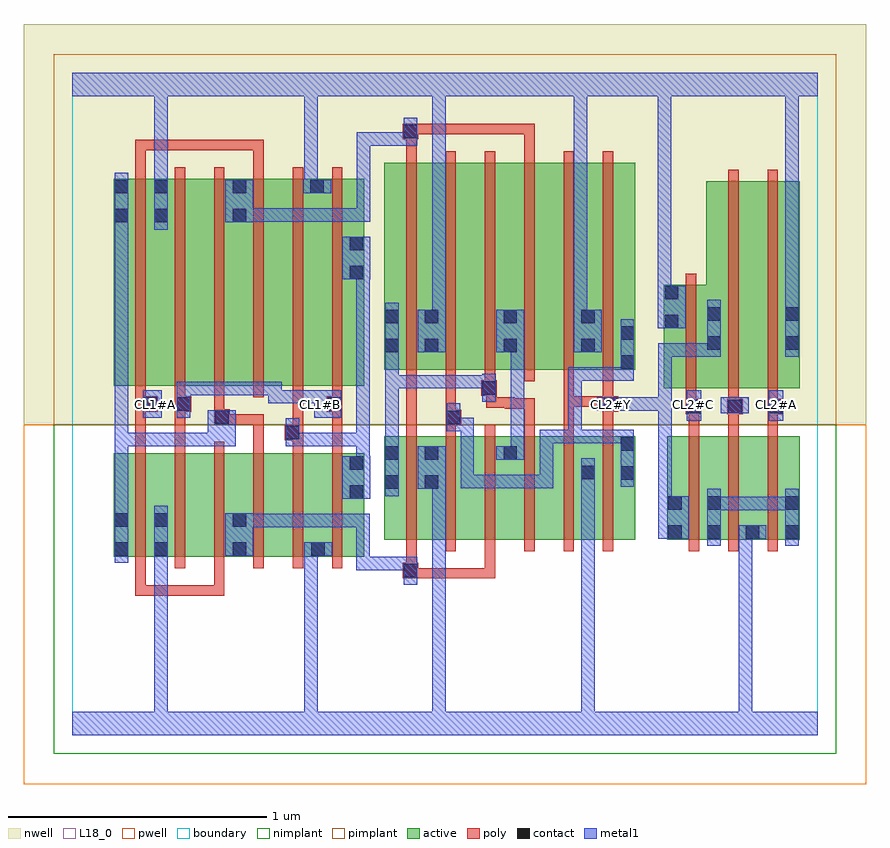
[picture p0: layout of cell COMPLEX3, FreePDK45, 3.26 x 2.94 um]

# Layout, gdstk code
import gdstk
lib = gdstk.Library(unit=1e-6, precision=1e-09)
def R(c, l, rs):  # rectangles x0, y0, x1, y1
    for r in rs: c.add(gdstk.rectangle(r[:2], r[2:], *l))
def A(c, l, x, y, w, h, nx, ny, dx, dy):  # array of equal rectangles
    R(c, l, [(x+i*dx, y+j*dy, x+i*dx+w, y+j*dy+h) for i in range(nx) for j in range(ny)])
active = (1, 0)
pwell = (2, 0)
nwell = (3, 0)
nimplant = (4, 0)
pimplant = (5, 0)
poly = (9, 0)
contact = (10, 0)
metal1 = (11, 0)
L18_0 = (18, 0)
boundary = (235, 0)

complex3 = lib.new_cell('COMPLEX3')
R(complex3, active, [(0.16,0.69,0.22,1.09), (0.16,0.69,0.372,1.09), (0.312,0.69,0.492,1.09), (0.312,0.69,0.372,0.916), (0.492,0.69,0.676,1.09), (0.616,0.69,0.676,1.09), (0.616,0.69,0.796,1.09), (0.796,0.69,0.98,1.09), (0.92,0.69,0.98,0.75), (0.92,0.69,1.128,1.09), (1.068,0.69,1.128,1.09), (1.206,0.756,1.266,1.156), (1.206,0.756,1.418,1.156), (1.358,0.756,1.538,1.156), (1.358,0.756,1.418,1.12), (1.538,0.756,1.722,1.156), (1.662,0.756,1.842,1.156), (1.662,0.756,1.722,1.12), (1.842,0.756,2.022,1.156), (1.962,0.756,2.022,1.156), (1.962,0.756,2.174,1.156), (2.114,0.756,2.174,1.156), (2.298,0.756,2.358,1.156), (2.298,0.756,2.51,1.156), (2.45,0.756,2.658,1.156), (2.45,0.756,2.51,0.928), (2.598,0.756,2.81,1.156), (2.598,0.756,2.658,0.816), (2.75,0.756,2.81,1.156), (2.286,1.34,2.346,1.74), (2.286,1.34,2.51,1.74), (2.45,1.34,2.51,2.14), (2.45,1.34,2.63,2.14), (2.63,1.34,2.81,2.14), (2.75,1.34,2.81,2.14), (0.16,1.35,0.22,2.15), (0.16,1.35,0.372,2.15), (0.312,1.35,0.492,2.15), (0.492,1.35,0.676,2.15), (0.616,1.35,0.796,2.15), (0.796,1.35,0.976,2.15), (0.916,1.35,1.128,2.15), (1.068,1.35,1.128,2.15), (1.206,1.412,1.266,2.044), (1.206,1.412,1.418,2.212), (1.358,1.412,1.538,2.212), (1.358,1.412,1.418,2.044), (1.538,1.412,1.722,2.212), (1.662,1.412,1.842,2.212), (1.662,1.412,1.722,2.044), (1.842,1.412,2.022,2.212), (1.962,1.412,2.022,2.044), (1.962,1.412,2.174,2.212), (2.114,1.412,2.174,2.044), (0.312,1.65,0.372,2.15), (0.616,1.65,0.676,2.15), (0.916,1.686,0.976,2.15)])
R(complex3, pwell, [(-0.188,-0.188,3.068,1.2)])
R(complex3, nwell, [(-0.188,1.2,3.068,2.748)])
R(complex3, nimplant, [(-0.072,-0.072,2.952,1.2)])
R(complex3, pimplant, [(-0.072,1.2,2.952,2.632)])
A(complex3, poly, 0.244, 0.646, 0.04, 0.488, 6, 1, 0.152, 0)
A(complex3, poly, 1.29, 0.712, 0.04, 0.488, 6, 1, 0.152, 0)
A(complex3, poly, 2.382, 0.712, 0.04, 0.488, 3, 1, 0.152, 0)
A(complex3, poly, 2.382, 1.16, 0.04, 0.12, 3, 1, 0.152, 0)
A(complex3, poly, 0.244, 1.306, 0.04, 0.888, 6, 1, 0.152, 0)
A(complex3, poly, 1.29, 1.368, 0.04, 0.888, 6, 1, 0.152, 0)
A(complex3, poly, 0.244, 2.26, 0.04, 0.04, 3, 1, 0.106, 0)
R(complex3, poly, [(0.244,0.54,0.284,0.58), (0.244,0.54,0.284,0.58), (0.244,0.54,0.284,0.58), (0.244,0.54,0.284,0.686), (0.244,0.54,0.39,0.58), (0.35,0.54,0.39,0.58), (0.35,0.54,0.588,0.58), (0.548,0.54,0.588,0.58), (0.548,0.54,0.588,0.58), (0.548,0.54,0.588,0.58), (0.548,0.54,0.588,0.686), (1.276,0.606,1.336,0.666), (1.296,0.606,1.336,0.646), (1.296,0.606,1.336,0.646), (1.296,0.606,1.442,0.646), (1.402,0.606,1.442,0.646), (1.402,0.606,1.604,0.646), (1.564,0.606,1.604,0.646), (1.564,0.606,1.634,0.646), (1.594,0.606,1.634,0.646), (1.594,0.606,1.634,0.752), (1.29,0.626,1.33,0.752), (0.244,1.094,0.284,1.29), (0.396,1.094,0.436,1.29), (0.7,1.094,0.74,1.24), (0.852,1.094,0.892,1.18), (1.004,1.094,1.044,1.29), (0.82,1.14,0.892,1.2), (0.852,1.16,0.892,1.2), (0.852,1.16,0.892,1.2), (0.852,1.16,0.892,1.346), (1.29,1.16,1.33,1.372), (1.442,1.16,1.482,1.238), (1.746,1.16,1.786,1.302), (1.898,1.16,1.938,1.31), (2.05,1.16,2.09,1.29), (1.442,1.198,1.502,1.258), (0.548,1.2,0.608,1.26), (0.568,1.2,0.74,1.24), (0.7,1.2,0.74,1.24), (0.7,1.2,0.74,1.24), (0.7,1.2,0.74,1.24), (1.442,1.218,1.482,1.258), (1.442,1.218,1.482,1.258), (1.442,1.218,1.482,1.408), (0.548,1.22,0.588,1.26), (0.548,1.22,0.588,1.26), (0.548,1.22,0.588,1.346), (2.37,1.24,2.43,1.3), (2.53,1.24,2.59,1.3), (2.686,1.24,2.746,1.3), (0.244,1.25,0.284,1.29), (0.244,1.25,0.284,1.29), (0.244,1.25,0.33,1.31), (0.396,1.25,0.436,1.29), (0.396,1.25,0.436,1.29), (0.396,1.25,0.46,1.31), (0.984,1.25,1.044,1.31), (1.004,1.25,1.044,1.29), (1.004,1.25,1.044,1.29), (2.05,1.25,2.11,1.31), (2.37,1.26,2.41,1.336), (2.37,1.26,2.41,1.3), (2.37,1.26,2.41,1.3), (2.534,1.26,2.574,1.336), (2.534,1.26,2.574,1.3), (2.534,1.26,2.574,1.3), (2.686,1.26,2.726,1.336), (2.686,1.26,2.726,1.3), (2.686,1.26,2.726,1.3), (1.67,1.262,1.786,1.302), (1.67,1.262,1.71,1.306), (1.746,1.262,1.786,1.302), (1.6,1.266,1.64,1.306), (1.6,1.266,1.71,1.306), (1.6,1.266,1.64,1.352), (0.244,1.27,0.284,1.346), (0.396,1.27,0.436,1.346), (1.004,1.27,1.044,1.346), (1.898,1.27,1.938,1.31), (1.898,1.27,1.938,1.31), (1.898,1.27,1.938,1.31), (1.898,1.27,1.938,1.408), (1.898,1.27,2.09,1.31), (2.05,1.27,2.09,1.31), (2.05,1.27,2.09,1.31), (2.05,1.27,2.09,1.31), (2.05,1.27,2.09,1.31), (2.05,1.27,2.09,1.408), (2.37,1.296,2.41,1.784), (2.534,1.296,2.574,2.184), (2.686,1.296,2.726,2.184), (1.58,1.312,1.64,1.372), (1.29,1.332,1.33,1.408), (1.29,1.332,1.33,1.372), (1.29,1.332,1.33,1.372), (1.29,1.332,1.33,1.372), (1.594,1.332,1.634,1.408), (0.244,2.154,0.284,2.3), (0.7,2.154,0.74,2.3), (1.29,2.216,1.33,2.342), (1.746,2.216,1.786,2.362), (0.244,2.26,0.284,2.3), (0.244,2.26,0.284,2.3), (0.244,2.26,0.39,2.3), (0.35,2.26,0.496,2.3), (0.456,2.26,0.496,2.3), (0.456,2.26,0.496,2.3), (0.456,2.26,0.74,2.3), (0.7,2.26,0.74,2.3), (0.7,2.26,0.74,2.3), (0.7,2.26,0.74,2.3), (1.276,2.302,1.336,2.362), (1.296,2.322,1.336,2.362), (1.296,2.322,1.336,2.362), (1.296,2.322,1.498,2.362), (1.458,2.322,1.498,2.362), (1.458,2.322,1.604,2.362), (1.564,2.322,1.604,2.362), (1.564,2.322,1.604,2.362), (1.564,2.322,1.604,2.362), (1.564,2.322,1.786,2.362), (1.746,2.322,1.786,2.362), (1.746,2.322,1.786,2.362), (1.746,2.322,1.786,2.362)])
A(complex3, contact, 0.316, 0.694, 0.052, 0.052, 3, 1, 0.304, 0)
R(complex3, contact, [(1.28,0.61,1.332,0.662), (0.164,0.694,0.216,0.746), (2.302,0.76,2.354,0.812), (2.454,0.76,2.506,0.812), (2.602,0.76,2.654,0.812), (2.754,0.76,2.806,0.812), (0.164,0.806,0.216,0.858), (0.316,0.806,0.368,0.858), (0.62,0.806,0.672,0.858), (2.302,0.872,2.354,0.924), (2.454,0.872,2.506,0.924), (2.754,0.872,2.806,0.924), (1.072,0.914,1.124,0.966), (1.21,0.952,1.262,1.004), (1.362,0.952,1.414,1.004), (2.118,0.988,2.17,1.04), (1.966,0.99,2.018,1.042), (1.072,1.026,1.124,1.078), (1.21,1.064,1.262,1.116), (1.362,1.064,1.414,1.116), (1.666,1.064,1.718,1.116), (2.118,1.1,2.17,1.152), (0.824,1.144,0.876,1.196), (1.446,1.202,1.498,1.254), (0.552,1.204,0.604,1.256), (2.374,1.244,2.426,1.296), (2.534,1.244,2.586,1.296), (2.69,1.244,2.742,1.296), (0.274,1.254,0.326,1.306), (0.404,1.254,0.456,1.306), (0.988,1.254,1.04,1.306), (2.054,1.254,2.106,1.306), (1.584,1.316,1.636,1.368), (2.118,1.416,2.17,1.468), (1.21,1.48,1.262,1.532), (1.362,1.48,1.414,1.532), (1.666,1.48,1.718,1.532), (1.966,1.48,2.018,1.532), (2.454,1.49,2.506,1.542), (2.754,1.49,2.806,1.542), (2.118,1.528,2.17,1.58), (2.29,1.572,2.342,1.624), (1.21,1.592,1.262,1.644), (1.362,1.592,1.414,1.644), (1.666,1.592,1.718,1.644), (1.966,1.592,2.018,1.644), (2.454,1.602,2.506,1.654), (2.754,1.602,2.806,1.654), (2.29,1.684,2.342,1.736), (1.072,1.762,1.124,1.814), (1.072,1.874,1.124,1.926), (0.164,1.982,0.216,2.034), (0.316,1.982,0.368,2.034), (0.62,1.982,0.672,2.034), (0.164,2.094,0.216,2.146), (0.316,2.094,0.368,2.146), (0.62,2.094,0.672,2.146), (0.92,2.094,0.972,2.146), (1.28,2.306,1.332,2.358)])
R(complex3, metal1, [(0,0,2.88,0.092), (0.316,0.04,0.368,0.092), (0.316,0.04,0.368,0.092), (0.316,0.04,0.368,0.092), (0.316,0.04,0.368,0.092), (0.316,0.04,0.368,0.092), (0.316,0.04,0.368,0.092), (0.316,0.04,0.368,0.092), (0.316,0.04,0.368,0.092), (0.316,0.04,0.368,0.718), (0.896,0.04,0.948,0.092), (0.896,0.04,0.948,0.092), (0.896,0.04,0.948,0.092), (0.896,0.04,0.948,0.092), (0.896,0.04,0.948,0.092), (0.896,0.04,0.948,0.092), (0.896,0.04,0.948,0.092), (0.896,0.04,0.948,0.092), (0.896,0.04,0.948,0.092), (0.896,0.04,0.948,0.092), (0.896,0.04,0.948,0.746), (1.39,0.04,1.442,0.092), (1.39,0.04,1.442,0.092), (1.39,0.04,1.442,0.092), (1.39,0.04,1.442,0.092), (1.39,0.04,1.442,0.092), (1.39,0.04,1.442,0.092), (1.39,0.04,1.442,0.092), (1.39,0.04,1.442,0.092), (1.39,0.04,1.442,0.092), (1.39,0.04,1.442,0.092), (1.39,0.04,1.442,1.004), (1.966,0.04,2.018,0.092), (1.966,0.04,2.018,0.092), (1.966,0.04,2.018,0.092), (1.966,0.04,2.018,0.092), (1.966,0.04,2.018,0.092), (1.966,0.04,2.018,0.092), (1.966,0.04,2.018,0.092), (1.966,0.04,2.018,0.092), (1.966,0.04,2.018,0.092), (1.966,0.04,2.018,0.092), (1.966,0.04,2.018,0.092), (1.966,0.04,2.018,0.092), (1.966,0.04,2.018,1.014), (2.574,0.04,2.626,0.092), (2.574,0.04,2.626,0.092), (2.574,0.04,2.626,0.092), (2.574,0.04,2.626,0.092), (2.574,0.04,2.626,0.092), (2.574,0.04,2.626,0.092), (2.574,0.04,2.626,0.092), (2.574,0.04,2.626,0.092), (2.574,0.04,2.626,0.092), (2.574,0.04,2.626,0.092), (2.574,0.04,2.626,0.812), (1.28,0.582,1.332,0.69), (1.098,0.638,1.15,0.69), (1.098,0.638,1.15,0.69), (1.098,0.638,1.15,0.69), (1.098,0.638,1.15,0.69), (1.098,0.638,1.15,0.69), (1.098,0.638,1.332,0.69), (1.098,0.638,1.15,0.856), (0.164,0.666,0.216,0.886), (0.316,0.666,0.368,0.718), (0.316,0.666,0.368,0.718), (0.316,0.666,0.368,0.718), (0.316,0.666,0.368,0.718), (0.316,0.666,0.368,0.886), (0.592,0.694,0.7,0.858), (0.896,0.694,0.948,0.746), (0.896,0.694,0.948,0.746), (0.896,0.694,1.004,0.746), (2.454,0.732,2.506,0.952), (2.754,0.732,2.806,0.952), (2.264,0.76,2.382,0.924), (2.574,0.76,2.626,0.812), (2.574,0.76,2.626,0.812), (2.574,0.76,2.682,0.812), (0.648,0.804,0.7,0.856), (0.648,0.804,0.7,0.856), (0.648,0.804,0.81,0.856), (0.758,0.804,0.81,0.856), (0.758,0.804,0.81,0.856), (0.758,0.804,0.81,0.856), (0.758,0.804,0.986,0.856), (0.934,0.804,0.986,0.856), (0.934,0.804,0.986,0.856), (0.934,0.804,0.986,0.856), (0.934,0.804,0.986,0.856), (0.934,0.804,0.986,0.856), (0.934,0.804,1.15,0.856), (1.098,0.804,1.15,0.856), (1.098,0.804,1.15,0.856), (1.098,0.804,1.15,0.856), (0.164,0.834,0.216,1.168), (2.454,0.87,2.506,0.922), (2.454,0.87,2.506,0.922), (2.454,0.87,2.696,0.922), (2.644,0.87,2.696,0.922), (2.644,0.87,2.806,0.922), (2.754,0.87,2.806,0.922), (2.754,0.87,2.806,0.922), (2.264,0.872,2.316,1.306), (1.044,0.914,1.152,1.078), (1.21,0.924,1.262,1.144), (1.334,0.952,1.442,1.116), (1.39,0.952,1.442,1.004), (1.39,0.952,1.442,1.004), (1.5,0.954,1.552,1.006), (1.5,0.954,1.748,1.006), (1.5,0.954,1.552,1.226), (1.696,0.954,1.748,1.006), (1.696,0.954,1.748,1.006), (1.696,0.954,1.748,1.006), (1.696,0.954,1.858,1.006), (1.806,0.954,1.858,1.006), (1.806,0.954,1.858,1.006), (1.806,0.954,1.858,1.006), (1.806,0.954,1.858,1.18), (2.118,0.96,2.17,1.18), (1.966,0.962,2.018,1.07), (1.098,1.026,1.15,1.168), (1.638,1.064,1.746,1.116), (1.694,1.064,1.746,1.532), (1.21,1.092,1.262,1.392), (0.164,1.116,0.216,1.168), (0.164,1.116,0.216,1.168), (0.164,1.116,0.216,1.168), (0.164,1.116,0.216,2.006), (0.164,1.116,0.346,1.168), (0.294,1.116,0.346,1.168), (0.294,1.116,0.346,1.168), (0.294,1.116,0.346,1.168), (0.294,1.116,0.456,1.168), (0.404,1.116,0.456,1.168), (0.404,1.116,0.576,1.168), (0.524,1.116,0.632,1.256), (0.824,1.116,0.986,1.168), (0.824,1.116,0.876,1.224), (0.934,1.116,0.986,1.168), (0.934,1.116,0.986,1.168), (0.934,1.116,0.986,1.168), (0.934,1.116,1.15,1.168), (1.098,1.116,1.15,1.168), (1.098,1.116,1.15,1.168), (1.098,1.116,1.15,1.168), (1.098,1.116,1.15,1.814), (1.806,1.128,1.858,1.18), (1.806,1.128,1.968,1.18), (1.916,1.128,1.968,1.18), (1.916,1.128,1.968,1.18), (1.916,1.128,1.968,1.18), (1.916,1.128,1.968,1.18), (1.916,1.128,1.968,1.18), (1.916,1.128,2.17,1.18), (1.916,1.128,1.968,1.422), (2.118,1.128,2.17,1.18), (2.118,1.128,2.17,1.18), (1.446,1.174,1.498,1.282), (1.446,1.174,1.552,1.226), (1.5,1.174,1.552,1.226), (1.5,1.174,1.552,1.226), (1.5,1.174,1.552,1.226), (2.374,1.216,2.43,1.334), (2.69,1.216,2.746,1.334), (0.274,1.226,0.346,1.334), (0.404,1.226,0.456,1.334), (0.934,1.226,1.04,1.334), (2.506,1.244,2.614,1.306), (2.026,1.254,2.134,1.306), (2.082,1.254,2.134,1.306), (2.082,1.254,2.134,1.306), (2.082,1.254,2.316,1.306), (2.264,1.254,2.316,1.306), (2.264,1.254,2.316,1.514), (0.404,1.282,0.456,1.334), (0.404,1.282,0.456,1.366), (0.758,1.282,0.986,1.334), (0.758,1.282,0.81,1.348), (0.934,1.282,0.986,1.334), (0.934,1.282,0.986,1.334), (1.584,1.288,1.636,1.396), (0.758,1.296,0.81,1.348), (0.758,1.296,0.81,1.366), (0.404,1.314,0.566,1.366), (0.514,1.314,0.566,1.366), (0.514,1.314,0.7,1.366), (0.648,1.314,0.7,1.366), (0.648,1.314,0.7,1.366), (0.648,1.314,0.7,1.366), (0.648,1.314,0.81,1.366), (1.21,1.34,1.262,1.392), (1.21,1.34,1.262,1.392), (1.21,1.34,1.262,1.392), (1.21,1.34,1.262,1.392), (1.21,1.34,1.262,1.392), (1.21,1.34,1.442,1.392), (1.21,1.34,1.262,1.504), (1.39,1.34,1.442,1.392), (1.39,1.34,1.442,1.392), (1.39,1.34,1.442,1.392), (1.39,1.34,1.58,1.392), (1.528,1.34,1.58,1.392), (1.528,1.34,1.636,1.392), (1.916,1.37,1.968,1.422), (1.916,1.37,1.968,1.422), (1.916,1.37,1.968,1.422), (1.916,1.37,2.17,1.422), (2.118,1.37,2.17,1.44), (2.118,1.388,2.17,1.44), (2.118,1.388,2.17,1.608), (1.21,1.452,1.262,1.672), (2.264,1.462,2.316,1.514), (2.264,1.462,2.316,1.514), (2.264,1.462,2.316,1.514), (2.264,1.462,2.316,1.514), (2.264,1.462,2.316,1.514), (2.264,1.462,2.506,1.514), (2.454,1.462,2.506,1.682), (2.754,1.462,2.806,1.682), (1.334,1.48,1.442,1.644), (1.638,1.48,1.746,1.644), (1.694,1.48,1.746,1.532), (1.694,1.48,1.746,1.532), (1.694,1.48,1.746,1.532), (1.694,1.48,1.746,1.532), (1.938,1.48,2.046,1.644), (2.262,1.572,2.37,1.736), (1.39,1.592,1.442,1.644), (1.39,1.592,1.442,1.644), (1.39,1.592,1.442,2.52), (1.938,1.592,1.99,1.644), (1.938,1.592,1.99,1.644), (1.938,1.592,1.99,2.52), (2.754,1.63,2.806,2.52), (2.262,1.684,2.314,1.736), (2.262,1.684,2.314,1.736), (2.262,1.684,2.314,1.736), (2.262,1.684,2.314,1.736), (2.262,1.684,2.314,1.736), (2.262,1.684,2.314,1.736), (2.262,1.684,2.314,1.736), (2.262,1.684,2.314,1.736), (2.262,1.684,2.314,1.736), (2.262,1.684,2.314,1.736), (2.262,1.684,2.314,1.736), (2.262,1.684,2.314,1.736), (2.262,1.684,2.314,2.52), (1.044,1.762,1.152,1.926), (0.164,1.954,0.216,2.006), (0.164,1.954,0.216,2.006), (0.164,1.954,0.216,2.174), (0.316,1.954,0.368,2.174), (0.592,1.982,0.7,2.146), (0.648,1.984,0.7,2.036), (0.648,1.984,0.7,2.036), (0.648,1.984,0.81,2.036), (0.758,1.984,0.81,2.036), (0.758,1.984,0.81,2.036), (0.758,1.984,0.81,2.036), (0.758,1.984,0.986,2.036), (0.934,1.984,0.986,2.036), (0.934,1.984,0.986,2.036), (0.934,1.984,0.986,2.036), (0.934,1.984,1.152,2.036), (1.1,1.984,1.152,2.036), (1.1,1.984,1.152,2.33), (0.892,2.094,1,2.146), (0.896,2.094,0.948,2.146), (0.896,2.094,0.948,2.146), (0.896,2.094,0.948,2.146), (0.896,2.094,0.948,2.146), (0.896,2.094,0.948,2.52), (0.316,2.122,0.368,2.52), (1.1,2.278,1.152,2.33), (1.1,2.278,1.152,2.33), (1.1,2.278,1.152,2.33), (1.1,2.278,1.152,2.33), (1.1,2.278,1.152,2.33), (1.1,2.278,1.332,2.33), (1.28,2.278,1.332,2.386), (0,2.468,2.88,2.56), (0.316,2.468,0.368,2.52), (0.316,2.468,0.368,2.52), (0.316,2.468,0.368,2.52), (0.316,2.468,0.368,2.52), (0.316,2.468,0.368,2.52), (0.316,2.468,0.368,2.52), (0.316,2.468,0.368,2.52), (0.316,2.468,0.368,2.52), (0.896,2.468,0.948,2.52), (0.896,2.468,0.948,2.52), (0.896,2.468,0.948,2.52), (0.896,2.468,0.948,2.52), (1.39,2.468,1.442,2.52), (1.39,2.468,1.442,2.52), (1.39,2.468,1.442,2.52), (1.39,2.468,1.442,2.52), (1.39,2.468,1.442,2.52), (1.39,2.468,1.442,2.52), (1.938,2.468,1.99,2.52), (1.938,2.468,1.99,2.52), (1.938,2.468,1.99,2.52), (1.938,2.468,1.99,2.52), (1.938,2.468,1.99,2.52), (1.938,2.468,1.99,2.52), (2.262,2.468,2.314,2.52), (2.262,2.468,2.314,2.52), (2.262,2.468,2.314,2.52), (2.262,2.468,2.314,2.52), (2.754,2.468,2.806,2.52), (2.754,2.468,2.806,2.52), (2.754,2.468,2.806,2.52), (2.754,2.468,2.806,2.52), (2.754,2.468,2.806,2.52), (2.754,2.468,2.806,2.52), (2.754,2.468,2.806,2.52), (2.754,2.468,2.806,2.52)])
A(complex3, L18_0, 2.374, 1.254, 0.052, 0.052, 3, 1, 0.16, 0)
R(complex3, L18_0, [(0,0,2.88,0.092), (0.316,0.04,0.368,0.092), (0.316,0.04,0.368,0.092), (0.316,0.04,0.368,0.092), (0.316,0.04,0.368,0.092), (0.316,0.04,0.368,0.092), (0.316,0.04,0.368,0.092), (0.316,0.04,0.368,0.092), (0.316,0.04,0.368,0.092), (0.316,0.04,0.368,0.718), (0.896,0.04,0.948,0.092), (0.896,0.04,0.948,0.092), (0.896,0.04,0.948,0.092), (0.896,0.04,0.948,0.092), (0.896,0.04,0.948,0.092), (0.896,0.04,0.948,0.092), (0.896,0.04,0.948,0.092), (0.896,0.04,0.948,0.092), (0.896,0.04,0.948,0.092), (0.896,0.04,0.948,0.092), (0.896,0.04,0.948,0.746), (1.39,0.04,1.442,0.092), (1.39,0.04,1.442,0.092), (1.39,0.04,1.442,0.092), (1.39,0.04,1.442,0.092), (1.39,0.04,1.442,0.092), (1.39,0.04,1.442,0.092), (1.39,0.04,1.442,0.092), (1.39,0.04,1.442,0.092), (1.39,0.04,1.442,0.092), (1.39,0.04,1.442,0.092), (1.39,0.04,1.442,1.004), (1.966,0.04,2.018,0.092), (1.966,0.04,2.018,0.092), (1.966,0.04,2.018,0.092), (1.966,0.04,2.018,0.092), (1.966,0.04,2.018,0.092), (1.966,0.04,2.018,0.092), (1.966,0.04,2.018,0.092), (1.966,0.04,2.018,0.092), (1.966,0.04,2.018,0.092), (1.966,0.04,2.018,0.092), (1.966,0.04,2.018,0.092), (1.966,0.04,2.018,0.092), (1.966,0.04,2.018,1.014), (2.574,0.04,2.626,0.092), (2.574,0.04,2.626,0.092), (2.574,0.04,2.626,0.092), (2.574,0.04,2.626,0.092), (2.574,0.04,2.626,0.092), (2.574,0.04,2.626,0.092), (2.574,0.04,2.626,0.092), (2.574,0.04,2.626,0.092), (2.574,0.04,2.626,0.092), (2.574,0.04,2.626,0.092), (2.574,0.04,2.626,0.812), (0.316,0.666,0.368,0.718), (0.316,0.666,0.368,0.718), (0.316,0.666,0.368,0.718), (0.316,0.666,0.368,0.718), (0.316,0.666,0.368,0.886), (0.896,0.694,0.948,0.746), (0.896,0.694,0.948,0.746), (0.896,0.694,1.004,0.746), (2.264,0.76,2.382,0.924), (2.574,0.76,2.626,0.812), (2.574,0.76,2.626,0.812), (2.574,0.76,2.682,0.812), (2.264,0.872,2.316,1.306), (1.334,0.952,1.442,1.116), (1.39,0.952,1.442,1.004), (1.39,0.952,1.442,1.004), (1.966,0.962,2.018,1.07), (2.374,1.216,2.43,1.334), (2.69,1.216,2.746,1.334), (0.274,1.226,0.346,1.334), (0.404,1.226,0.456,1.334), (0.934,1.226,1.04,1.334), (2.506,1.244,2.614,1.306), (0.294,1.254,0.346,1.306), (0.934,1.254,0.986,1.306), (2.026,1.254,2.134,1.306), (2.054,1.254,2.106,1.306), (2.082,1.254,2.134,1.306), (2.082,1.254,2.134,1.306), (2.082,1.254,2.316,1.306), (2.264,1.254,2.316,1.306), (2.264,1.254,2.316,1.514), (0.404,1.282,0.456,1.334), (0.404,1.282,0.456,1.366), (0.758,1.282,0.81,1.348), (0.758,1.282,0.986,1.334), (0.934,1.282,0.986,1.334), (0.934,1.282,0.986,1.334), (0.758,1.296,0.81,1.348), (0.758,1.296,0.81,1.366), (0.404,1.314,0.566,1.366), (0.514,1.314,0.566,1.366), (0.514,1.314,0.7,1.366), (0.648,1.314,0.7,1.366), (0.648,1.314,0.7,1.366), (0.648,1.314,0.7,1.366), (0.648,1.314,0.81,1.366), (2.264,1.462,2.316,1.514), (2.264,1.462,2.316,1.514), (2.264,1.462,2.316,1.514), (2.264,1.462,2.316,1.514), (2.264,1.462,2.316,1.514), (2.264,1.462,2.506,1.514), (2.454,1.462,2.506,1.682), (2.754,1.462,2.806,1.682), (1.334,1.48,1.442,1.644), (1.938,1.48,2.046,1.644), (2.262,1.572,2.37,1.736), (1.39,1.592,1.442,1.644), (1.39,1.592,1.442,1.644), (1.39,1.592,1.442,2.52), (1.938,1.592,1.99,1.644), (1.938,1.592,1.99,1.644), (1.938,1.592,1.99,2.52), (2.754,1.63,2.806,2.52), (2.262,1.684,2.314,1.736), (2.262,1.684,2.314,1.736), (2.262,1.684,2.314,1.736), (2.262,1.684,2.314,1.736), (2.262,1.684,2.314,1.736), (2.262,1.684,2.314,1.736), (2.262,1.684,2.314,1.736), (2.262,1.684,2.314,1.736), (2.262,1.684,2.314,1.736), (2.262,1.684,2.314,1.736), (2.262,1.684,2.314,1.736), (2.262,1.684,2.314,1.736), (2.262,1.684,2.314,2.52), (0.316,1.954,0.368,2.174), (0.892,2.094,1,2.146), (0.896,2.094,0.948,2.146), (0.896,2.094,0.948,2.146), (0.896,2.094,0.948,2.146), (0.896,2.094,0.948,2.146), (0.896,2.094,0.948,2.52), (0.316,2.122,0.368,2.52), (0,2.468,2.88,2.56), (0.316,2.468,0.368,2.52), (0.316,2.468,0.368,2.52), (0.316,2.468,0.368,2.52), (0.316,2.468,0.368,2.52), (0.316,2.468,0.368,2.52), (0.316,2.468,0.368,2.52), (0.316,2.468,0.368,2.52), (0.316,2.468,0.368,2.52), (0.896,2.468,0.948,2.52), (0.896,2.468,0.948,2.52), (0.896,2.468,0.948,2.52), (0.896,2.468,0.948,2.52), (1.39,2.468,1.442,2.52), (1.39,2.468,1.442,2.52), (1.39,2.468,1.442,2.52), (1.39,2.468,1.442,2.52), (1.39,2.468,1.442,2.52), (1.39,2.468,1.442,2.52), (1.938,2.468,1.99,2.52), (1.938,2.468,1.99,2.52), (1.938,2.468,1.99,2.52), (1.938,2.468,1.99,2.52), (1.938,2.468,1.99,2.52), (1.938,2.468,1.99,2.52), (2.262,2.468,2.314,2.52), (2.262,2.468,2.314,2.52), (2.262,2.468,2.314,2.52), (2.262,2.468,2.314,2.52), (2.754,2.468,2.806,2.52), (2.754,2.468,2.806,2.52), (2.754,2.468,2.806,2.52), (2.754,2.468,2.806,2.52), (2.754,2.468,2.806,2.52), (2.754,2.468,2.806,2.52), (2.754,2.468,2.806,2.52), (2.754,2.468,2.806,2.52)])
R(complex3, boundary, [(0,0,2.88,2.56)])
complex3.add(gdstk.Label('CL1#A', (0.32,1.28), layer=11, texttype=0))
complex3.add(gdstk.Label('CL1#B', (0.96,1.28), layer=11, texttype=0))
complex3.add(gdstk.Label('CL2#A', (2.72,1.28), layer=11, texttype=0))
complex3.add(gdstk.Label('CL2#B', (2.56,1.28), layer=11, texttype=0))
complex3.add(gdstk.Label('CL2#C', (2.4,1.28), layer=11, texttype=0))
complex3.add(gdstk.Label('CL2#Y', (2.08,1.28), layer=11, texttype=0))

lib.write_gds('COMPLEX3.gds')
